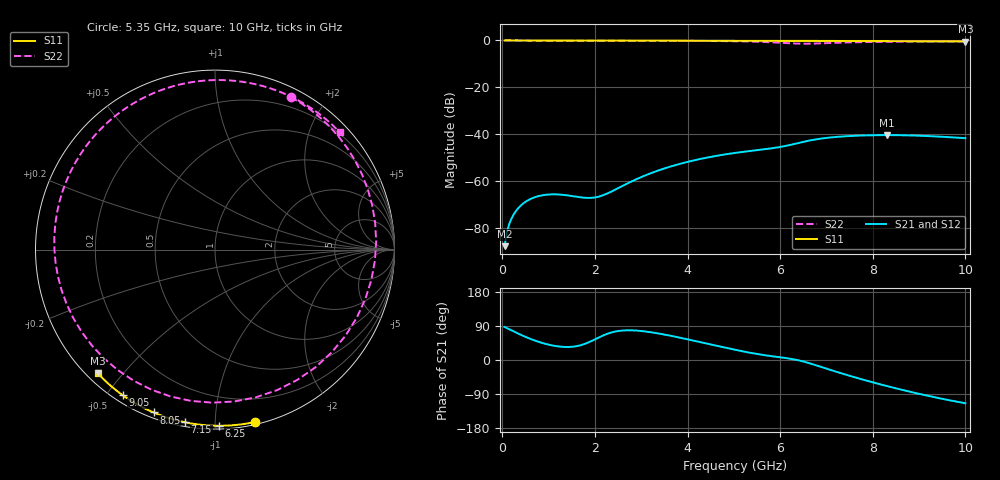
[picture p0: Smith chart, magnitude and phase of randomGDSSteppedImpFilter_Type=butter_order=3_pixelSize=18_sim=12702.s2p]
! freq	dB(S11)	phase(S11)	dB(S12)	phase(S12)
!  dB(S21)	phase(S21)	dB(S22)	phase(S22)
!S-par simulation data
#  GHz  S  DB  R 50
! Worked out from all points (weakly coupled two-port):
!   200 points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, 50 MHz to 10 GHz, reference 50 ohm
!   highest |S21| = -40.29 dB at 8.3 GHz (marker M1); lowest = -87.6 dB at 50 MHz (marker M2)
!   lowest |S11| = -0.5 dB at 10 GHz (marker M3), VSWR 38.57, Z = 1.54 - j21.5 ohm
!   |S11| at or under -10 dB: nowhere
!   |S22| runs from -1.4 to 0.0 dB; largest |S21 - S12| = 0
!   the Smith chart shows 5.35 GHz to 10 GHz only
!   S11 on the Smith chart (normalised r, x): 5.35 GHz: 0.02, -1.25; 6.25 GHz: 0.02, -1.02; 7.15 GHz: 0.02, -0.84; 8.05 GHz: 0.02, -0.69; 9.05 GHz: 0.03, -0.55; 10 GHz: 0.03, -0.43
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0.05  -0.00 -0.8  -87.60 87.0  -87.60 87.0  -0.01 -5.4
0.4  -0.01 -6.1  -70.28 66.4  -70.28 66.4  -0.05 -41.7
0.8  -0.02 -12.2  -66.19 47.3  -66.19 47.3  -0.09 -77.7
1.2  -0.02 -18.3  -65.56 36.0  -65.56 36.0  -0.10 -107.0
1.75  -0.03 -26.5  -66.92 41.1  -66.92 41.1  -0.11 -138.2
2.5  -0.05 -37.6  -62.92 76.4  -62.92 76.4  -0.12 -171.0
3.4  -0.07 -50.5  -55.15 69.4  -55.15 69.4  -0.14 155.7
4.25  -0.09 -62.4  -50.58 47.8  -50.58 47.8  -0.20 123.4
5.05  -0.11 -73.1  -47.82 26.5  -47.82 26.5  -0.34 83.9
5.35  -0.12 -77.1  -47.06 19.2  -47.06 19.2  -0.45 63.6
5.9  -0.14 -84.2  -45.69 8.7  -45.69 8.7  -0.87 9.4
6.25  -0.16 -88.7  -44.34 2.8  -44.34 2.8  -1.25 -41.5
6.5  -0.17 -91.8  -43.17 -4.0  -43.17 -4.0  -1.38 -82.8
6.7  -0.18 -94.3  -42.36 -11.1  -42.36 -11.1  -1.34 -114.4
6.9  -0.19 -96.8  -41.73 -18.9  -41.73 -18.9  -1.22 -142.1
7.15  -0.21 -99.8  -41.19 -28.7  -41.19 -28.7  -1.03 -170.5
7.6  -0.24 -105.3  -40.60 -45.3  -40.60 -45.3  -0.78 151.9
8.05  -0.27 -110.7  -40.33 -60.6  -40.33 -60.6  -0.63 124.5
8.3  -0.29 -113.6  -40.29 -68.6  -40.29 -68.6  -0.57 111.8
8.35  -0.29 -114.2  -40.29 -70.2  -40.29 -70.2  -0.56 109.4
9.05  -0.35 -122.4  -40.59 -90.7  -40.59 -90.7  -0.46 79.0
10  -0.45 -133.4  -41.61 -114.2  -41.61 -114.2  -0.41 43.2
